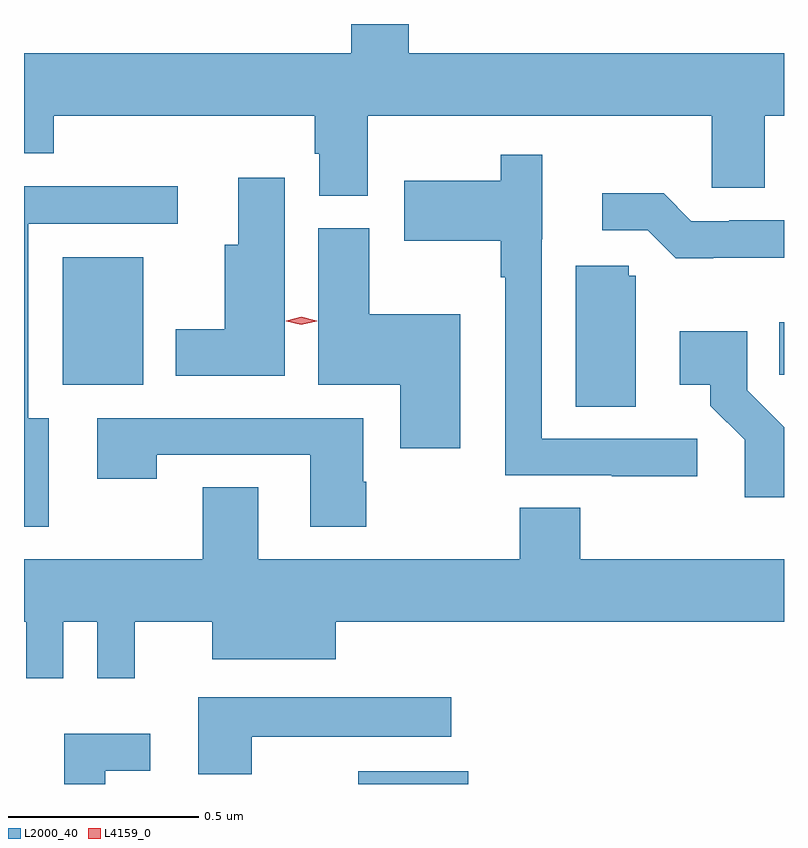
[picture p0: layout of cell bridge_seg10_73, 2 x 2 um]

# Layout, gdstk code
import gdstk
lib = gdstk.Library(unit=1e-6, precision=1e-09)
def R(c, l, rs):  # rectangles x0, y0, x1, y1
    for r in rs: c.add(gdstk.rectangle(r[:2], r[2:], *l))
def P(c, l, *ps):  # polygons
    for p in ps: c.add(gdstk.Polygon(p, *l))
L2000_40 = (2000, 40)
L4159_0 = (4159, 0)

bridge_seg10_73 = lib.new_cell('bridge_seg10_73')
R(bridge_seg10_73, L2000_40, [(712.463,1279.909,712.753,1279.942), (711.686,1280.96,711.898,1281.295), (713.572,1280.986,713.584,1281.124)])
P(bridge_seg10_73, L2000_40, [(712.489,1281.668),(713.394,1281.668),(713.394,1281.478),(713.533,1281.478),(713.533,1281.668),(713.584,1281.668),(713.584,1281.832),(712.596,1281.832),(712.596,1281.909),(712.445,1281.909),(712.445,1281.832),(711.584,1281.832),(711.584,1281.569),(711.662,1281.569),(711.662,1281.668),(712.349,1281.668),(712.349,1281.567),(712.361,1281.567),(712.361,1281.457),(712.489,1281.457)],
  [(713.356,1280.817),(712.947,1280.817),(712.947,1281.342),(712.948,1281.342),(712.948,1281.565),(712.839,1281.565),(712.839,1281.496),(712.584,1281.496),(712.584,1281.338),(712.839,1281.338),(712.839,1281.242),(712.851,1281.242),(712.851,1280.721),(713.131,1280.721),(713.131,1280.719),(713.356,1280.719)],
  [(712.27,1281.505),(712.148,1281.505),(712.148,1281.328),(712.112,1281.328),(712.112,1281.106),(711.983,1281.106),(711.983,1280.984),(712.27,1280.984)],
  [(711.649,1280.872),(711.595,1280.872),(711.595,1281.384),(711.988,1281.384),(711.988,1281.482),(711.584,1281.482),(711.584,1280.586),(711.649,1280.586)],
  [(713.398,1281.294),(713.584,1281.294),(713.584,1281.393),(713.44,1281.393),(713.44,1281.39),(713.34,1281.39),(713.267,1281.463),(713.106,1281.463),(713.106,1281.366),(713.226,1281.366),(713.299,1281.293),(713.398,1281.293)],
  [(712.732,1281.145),(712.492,1281.145),(712.492,1281.372),(712.358,1281.372),(712.358,1280.96),(712.574,1280.96),(712.574,1280.793),(712.732,1280.793)],
  [(713.194,1281.246),(713.175,1281.246),(713.175,1281.273),(713.036,1281.273),(713.036,1280.902),(713.194,1280.902)],
  [(713.584,1280.848),(713.487,1280.945),(713.487,1281.1),(713.31,1281.1),(713.31,1280.96),(713.39,1280.96),(713.39,1280.905),(713.481,1280.815),(713.481,1280.664),(713.584,1280.664)],
  [(712.485,1280.705),(712.477,1280.705),(712.477,1280.871),(711.777,1280.871),(711.777,1280.712),(711.933,1280.712),(711.933,1280.775),(712.337,1280.775),(712.337,1280.586),(712.485,1280.586)],
  [(711.584,1280.336),(711.59,1280.336),(711.59,1280.187),(711.687,1280.187),(711.687,1280.336),(711.777,1280.336),(711.777,1280.187),(711.875,1280.187),(711.875,1280.336),(712.079,1280.336),(712.079,1280.237),(712.405,1280.237),(712.405,1280.336),(713.584,1280.336),(713.584,1280.5),(713.048,1280.5),(713.048,1280.636),(712.888,1280.636),(712.888,1280.5),(712.201,1280.5),(712.201,1280.69),(712.054,1280.69),(712.054,1280.5),(711.584,1280.5)],
  [(712.183,1280.033),(712.708,1280.033),(712.708,1280.137),(712.043,1280.137),(712.043,1279.935),(712.183,1279.935)],
  [(711.798,1279.944),(711.916,1279.944),(711.916,1280.041),(711.69,1280.041),(711.69,1279.909),(711.798,1279.909)])
P(bridge_seg10_73, L4159_0, [(712.314,1281.118),(712.274,1281.127),(712.274,1281.128),(712.274,1281.128),(712.314,1281.138),(712.354,1281.128),(712.354,1281.128),(712.354,1281.127)])

lib.write_gds('bridge_seg10_73.gds')
